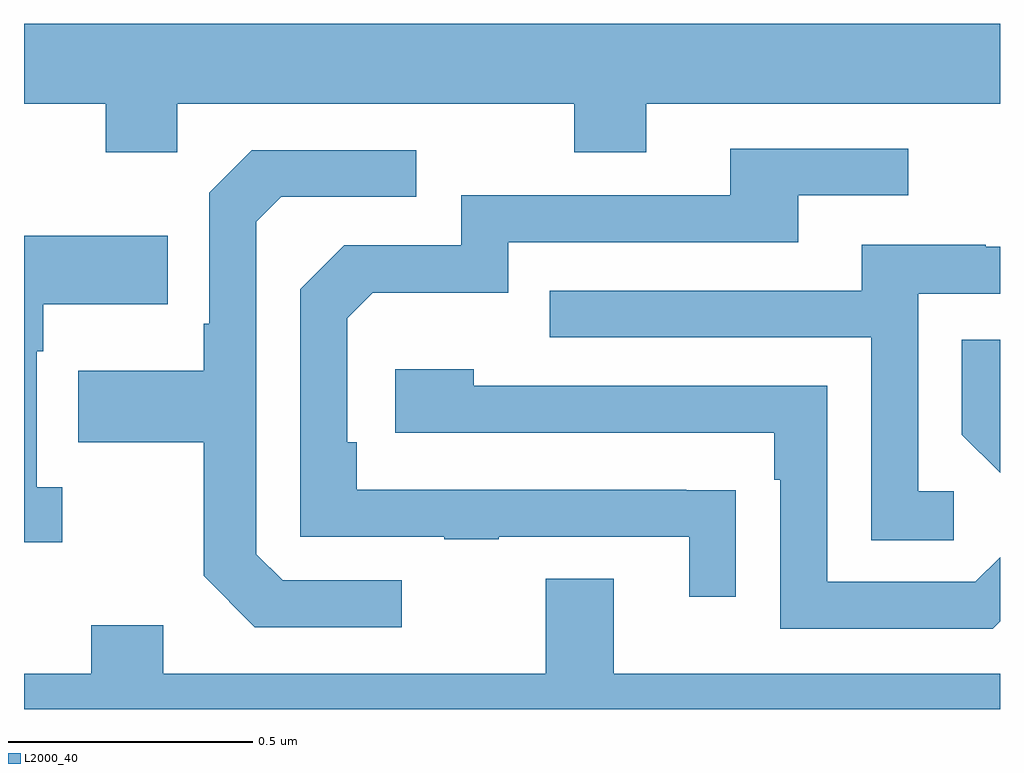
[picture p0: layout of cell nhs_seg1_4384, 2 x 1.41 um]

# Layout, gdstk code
import gdstk
lib = gdstk.Library(unit=1e-6, precision=1e-09)
def P(c, l, *ps):  # polygons
    for p in ps: c.add(gdstk.Polygon(p, *l))
L2000_40 = (2000, 40)

nhs_seg1_4384 = lib.new_cell('nhs_seg1_4384')
P(nhs_seg1_4384, L2000_40, [(166.314,510.44),(167.128,510.44),(167.128,510.341),(167.275,510.341),(167.275,510.44),(168,510.44),(168,510.604),(166,510.604),(166,510.44),(166.168,510.44),(166.168,510.341),(166.314,510.341)],
  [(167.459,509.648),(167.357,509.648),(167.357,509.649),(166.682,509.649),(166.682,509.746),(166.662,509.746),(166.662,510),(166.715,510.053),(166.992,510.053),(166.992,510.156),(167.587,510.156),(167.587,510.252),(167.812,510.252),(167.812,510.348),(167.447,510.348),(167.447,510.252),(166.896,510.252),(166.896,510.15),(166.656,510.15),(166.566,510.06),(166.566,509.553),(166.861,509.553),(166.861,509.548),(166.973,509.548),(166.973,509.553),(167.363,509.553),(167.363,509.43),(167.459,509.43)],
  [(166.774,509.463),(166.53,509.463),(166.476,509.517),(166.476,510.198),(166.527,510.249),(166.804,510.249),(166.804,510.345),(166.467,510.345),(166.38,510.258),(166.38,509.989),(166.368,509.989),(166.368,509.893),(166.111,509.893),(166.111,509.746),(166.368,509.746),(166.368,509.473),(166.473,509.367),(166.774,509.367)],
  [(166.078,509.654),(166.026,509.654),(166.026,509.933),(166.039,509.933),(166.039,510.029),(166.295,510.029),(166.295,510.169),(166,510.169),(166,509.541),(166.078,509.541)],
  [(167.905,509.646),(167.832,509.646),(167.832,510.051),(168,510.051),(168,510.147),(167.971,510.147),(167.971,510.151),(167.717,510.151),(167.717,510.057),(167.077,510.057),(167.077,509.961),(167.736,509.961),(167.736,509.545),(167.905,509.545)],
  [(168,509.956),(167.922,509.956),(167.922,509.762),(168,509.684)],
  [(168,509.379),(168,509.511),(167.949,509.46),(167.646,509.46),(167.646,509.862),(166.922,509.862),(166.922,509.896),(166.761,509.896),(166.761,509.766),(167.537,509.766),(167.537,509.669),(167.55,509.669),(167.55,509.364),(167.985,509.364)],
  [(168,509.272),(167.209,509.272),(167.209,509.467),(167.069,509.467),(167.069,509.272),(166.285,509.272),(166.285,509.371),(166.138,509.371),(166.138,509.272),(166,509.272),(166,509.199),(168,509.199)])

lib.write_gds('nhs_seg1_4384.gds')
